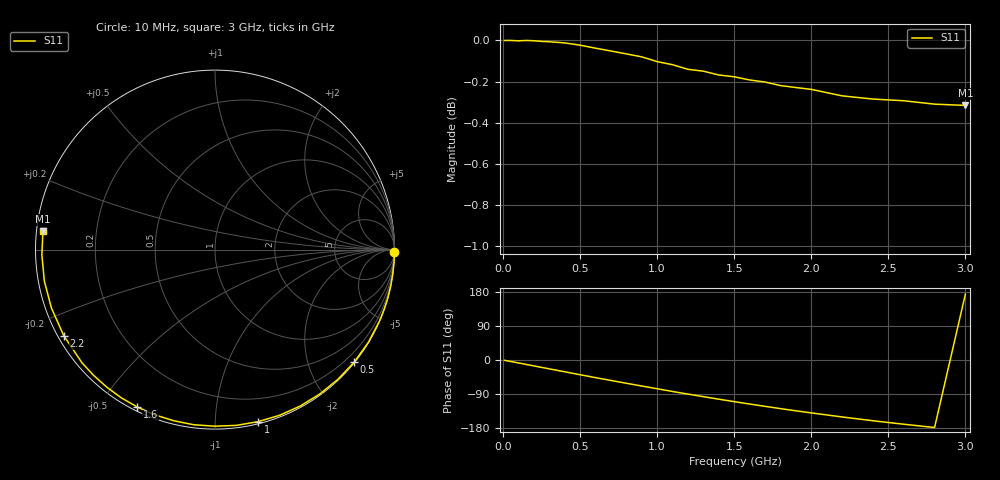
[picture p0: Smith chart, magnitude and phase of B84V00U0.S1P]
! SIEMENS Discrete & RF Semiconductors
! BBY53-03W
! Si Tuning Diode in SOD323
! VR = 4 V
! S-Parameters:  May  1997
# GHz  S  MA  R  50
!  f  S11
! GHz  MAG  ANG
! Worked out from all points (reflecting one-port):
!   30 points, 10 MHz to 3 GHz, reference 50 ohm
!   lowest |S11| = -0.3 dB at 3 GHz (marker M1), VSWR 55.01, Z = 0.912 + j2.66 ohm
!   phase of S11 starts at -1 deg and turns -185 deg over the sweep
!   S11 on the Smith chart (normalised r, x): 10 MHz: open; 500 MHz: 0.01, -2.83; 1 GHz: 0.02, -1.28; 1.6 GHz: 0.02, -0.62; 2.2 GHz: 0.02, -0.27; 3 GHz: 0.02, +0.05
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0.01  1 -0.8
0.1  0.9998 -7.8
0.15  1 -11.7
0.2  0.9998 -15.6
0.25  0.9994 -19.5
0.3  0.9993 -23.4
0.4  0.9986 -31.1
0.5  0.9973 -38.9
0.6  0.9957 -46.5
0.7  0.9941 -54.0
0.8  0.9925 -61.4
0.9  0.9909 -68.7
1  0.9882 -75.9
1.1  0.9865 -83.1
1.2  0.984 -90.0
1.3  0.9829 -96.8
1.4  0.9808 -103.4
1.5  0.9799 -109.9
1.6  0.9781 -116.2
1.7  0.977 -122.3
1.8  0.975 -128.3
1.9  0.974 -134.1
2  0.973 -139.6
2.2  0.9695 -150.3
2.4  0.9677 -160.3
2.6  0.9668 -169.5
2.8  0.965 -178.2
3  0.9643 173.9
